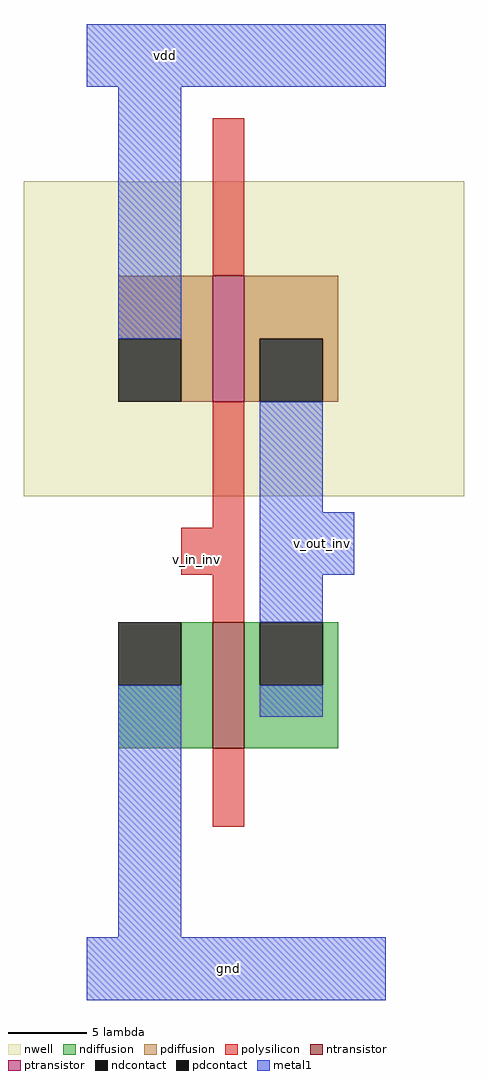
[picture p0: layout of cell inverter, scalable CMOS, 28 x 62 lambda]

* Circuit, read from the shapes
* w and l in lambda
.subckt inverter gnd v_in_inv v_out_inv vdd
M1 v_out_inv v_in_inv gnd VSUBS nfet w=8 l=2
M2 v_out_inv v_in_inv vdd n1 pfet w=8 l=2
.ends

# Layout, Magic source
magic
tech scmos
<< nwell >>
rect -13 -2 15 18
<< polysilicon >>
rect -1 12 1 22
rect -1 -4 1 4
rect -3 -7 1 -4
rect -1 -10 1 -7
rect -1 -23 1 -18
<< ndiffusion >>
rect -3 -14 -1 -10
rect -7 -18 -1 -14
rect 1 -14 2 -10
rect 6 -14 7 -10
rect 1 -18 7 -14
<< pdiffusion >>
rect -7 8 -1 12
rect -3 4 -1 8
rect 1 8 7 12
rect 1 4 2 8
rect 6 4 7 8
<< metal1 >>
rect -9 24 10 28
rect -7 8 -3 24
rect 2 -3 6 4
rect 2 -7 8 -3
rect 2 -10 6 -7
rect -7 -30 -3 -14
rect 2 -16 6 -14
rect -9 -34 10 -30
<< ntransistor >>
rect -1 -18 1 -10
<< ptransistor >>
rect -1 4 1 12
<< ndcontact >>
rect -7 -14 -3 -10
rect 2 -14 6 -10
<< pdcontact >>
rect -7 4 -3 8
rect 2 4 6 8
<< labels >>
rlabel metal1 -4 26 -4 26 5 vdd
rlabel metal1 0 -32 0 -32 1 gnd
rlabel polysilicon -2 -6 -2 -6 1 v_in_inv
rlabel metal1 6 -5 6 -5 1 v_out_inv
<< end >>
